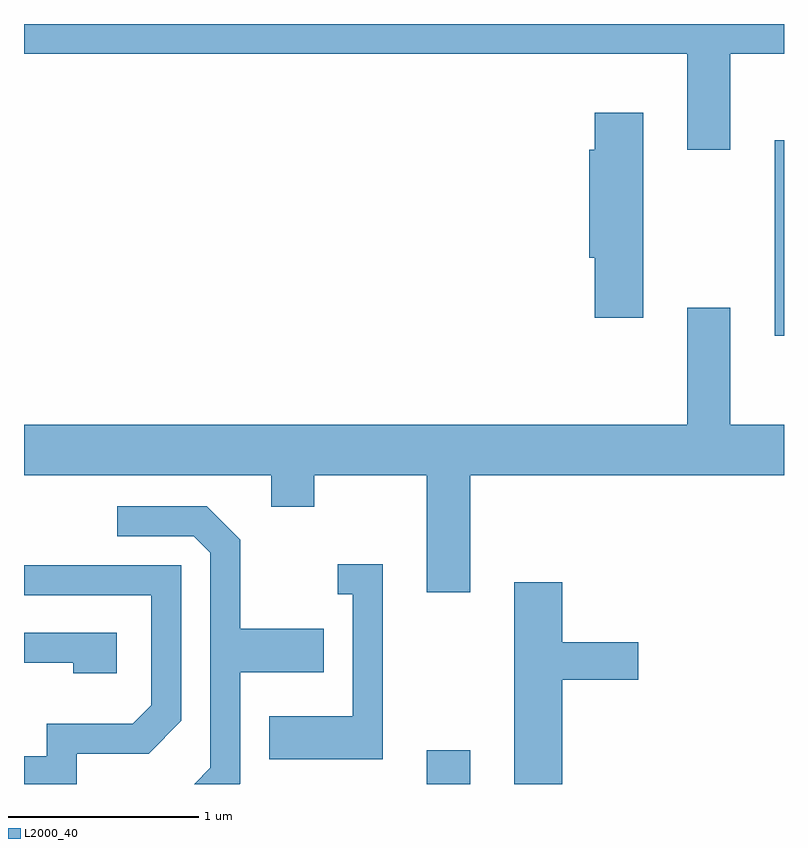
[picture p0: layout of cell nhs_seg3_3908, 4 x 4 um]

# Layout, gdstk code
import gdstk
lib = gdstk.Library(unit=1e-6, precision=1e-09)
def R(c, l, rs):  # rectangles x0, y0, x1, y1
    for r in rs: c.add(gdstk.rectangle(r[:2], r[2:], *l))
def P(c, l, *ps):  # polygons
    for p in ps: c.add(gdstk.Polygon(p, *l))
L2000_40 = (2000, 40)

nhs_seg3_3908 = lib.new_cell('nhs_seg3_3908')
R(nhs_seg3_3908, L2000_40, [(301.731,1179.892,301.959,1180.069), (303.561,1182.251,303.611,1183.279)])
P(nhs_seg3_3908, L2000_40, [(303.329,1183.736),(303.611,1183.736),(303.611,1183.892),(299.611,1183.892),(299.611,1183.736),(303.101,1183.736),(303.101,1183.231),(303.329,1183.231)],
  [(302.869,1183.424),(302.616,1183.424),(302.616,1183.229),(302.586,1183.229),(302.586,1182.661),(302.616,1182.661),(302.616,1182.346),(302.869,1182.346)],
  [(301.959,1181.516),(303.611,1181.516),(303.611,1181.784),(303.329,1181.784),(303.329,1182.399),(303.101,1182.399),(303.101,1181.784),(299.611,1181.784),(299.611,1181.516),(300.911,1181.516),(300.911,1181.351),(301.139,1181.351),(301.139,1181.516),(301.731,1181.516),(301.731,1180.901),(301.959,1180.901)],
  [(300.749,1179.894),(300.749,1180.481),(301.189,1180.481),(301.189,1180.709),(300.749,1180.709),(300.749,1181.177),(300.572,1181.354),(300.103,1181.354),(300.103,1181.196),(300.504,1181.196),(300.591,1181.109),(300.591,1179.977),(300.507,1179.892),(300.747,1179.892)],
  [(301.499,1181.049),(301.263,1181.049),(301.263,1180.891),(301.341,1180.891),(301.341,1180.249),(300.901,1180.249),(300.901,1180.021),(301.499,1180.021)],
  [(299.889,1180.051),(300.267,1180.051),(300.439,1180.224),(300.439,1181.044),(299.611,1181.044),(299.611,1180.886),(300.281,1180.886),(300.281,1180.307),(300.184,1180.209),(299.731,1180.209),(299.731,1180.039),(299.611,1180.039),(299.611,1179.892),(299.889,1179.892)],
  [(302.444,1180.441),(302.844,1180.441),(302.844,1180.639),(302.444,1180.639),(302.444,1180.954),(302.191,1180.954),(302.191,1179.892),(302.444,1179.892)],
  [(300.099,1180.689),(299.611,1180.689),(299.611,1180.531),(299.871,1180.531),(299.871,1180.476),(300.099,1180.476)])

lib.write_gds('nhs_seg3_3908.gds')
